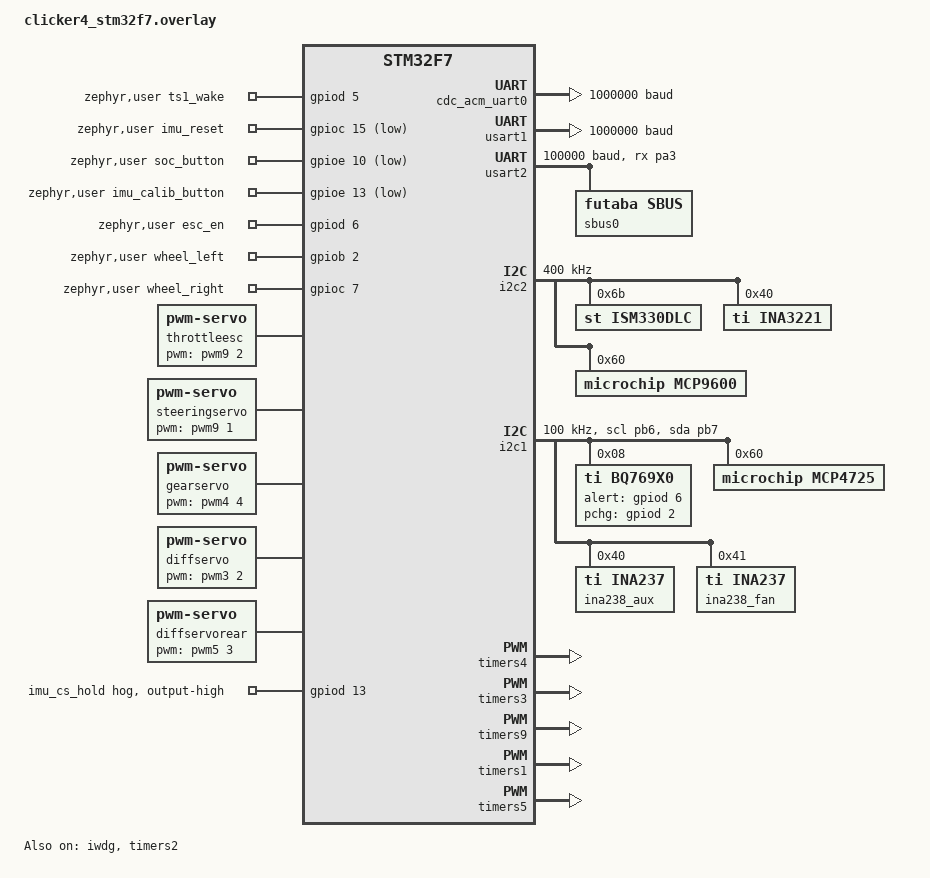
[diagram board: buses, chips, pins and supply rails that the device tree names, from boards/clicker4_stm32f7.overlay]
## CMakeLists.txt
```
# SPDX-License-Identifier: Apache-2.0


message(WARNING 
"========================================================================
MICRO-ROS BUILD NOTICE:
If you have changed the target board/port and are doing a pristine build,
you may need to manually remove micro-ROS build artifacts:
  rm -rf modules/lib/micro_ros_zephyr_module/modules/libmicroros/libmicroros.a
  rm -rf modules/lib/micro_ros_zephyr_module/modules/libmicroros/micro_ros_src/build
This ensures micro-ROS rebuilds for the correct target architecture.
========================================================================")


cmake_minimum_required(VERSION 3.13.1)

list(APPEND ZEPHYR_EXTRA_MODULES ${CMAKE_CURRENT_SOURCE_DIR}/../../modules/lib/micro_ros_zephyr_module/modules/libmicroros)
list(APPEND ZEPHYR_EXTRA_MODULES
    ${CMAKE_CURRENT_SOURCE_DIR}/../../drivers
    ${CMAKE_CURRENT_SOURCE_DIR}/../../external/modules/debug/segger
)

find_package(Zephyr REQUIRED HINTS $ENV{ZEPHYR_BASE})
project(svea_lli_control C CXX)

# Include directories
target_include_directories(app PRIVATE include)
target_include_directories(app PRIVATE
    ${CMAKE_CURRENT_SOURCE_DIR}/../../modules/lib/svea-bms/app/src
    ${CMAKE_CURRENT_SOURCE_DIR}/../../modules/lib/svea-bms/app/src/bq769x0
)

# Source files
target_sources(app PRIVATE
    src/main.c
    src/control.c
    src/rc_input.c
    src/ros_iface.c
    src/imu_sensor.c
    src/ina3221_sensor.c
    src/ina238_sensor.c
    src/mcp9600_sensor.c
    src/mcp4725_monitor.c
    src/wheel_enc.c
    src/ina2xx_common.c
    
    # BMS integration
    src/bms.cpp
    ${CMAKE_CURRENT_SOURCE_DIR}/../../modules/lib/svea-bms/app/src/bms_common.c
    ${CMAKE_CURRENT_SOURCE_DIR}/../../modules/lib/svea-bms/app/src/bms_soc.c
    ${CMAKE_CURRENT_SOURCE_DIR}/../../modules/lib/svea-bms/app/src/wake_chip.c
    ${CMAKE_CURRENT_SOURCE_DIR}/../../modules/lib/svea-bms/app/src/helper.cpp
    ${CMAKE_CURRENT_SOURCE_DIR}/../../modules/lib/svea-bms/app/src/bq769x0/bms_bq769x0.c
    ${CMAKE_CURRENT_SOURCE_DIR}/../../modules/lib/svea-bms/app/src/bq769x0/interface.c
)
```

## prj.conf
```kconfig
CONFIG_GPIO=y
CONFIG_CPP=y

# Micro-ROS configuration
CONFIG_MICROROS=y
CONFIG_MICROROS_TRANSPORT_SERIAL_USB=y
CONFIG_MICROROS_PUBLISHERS="20"
CONFIG_MICROROS_SUBSCRIBERS="12"
CONFIG_MICROROS_CLIENTS="8"
CONFIG_MICROROS_SERVERS="8"
CONFIG_MICROROS_XRCE_DDS_MTU="2048"
CONFIG_UART_LINE_CTRL=y


# Serial/USB for Micro-ROS
CONFIG_USB_DEVICE_STACK=y
CONFIG_USB_CDC_ACM=y
CONFIG_USB_CDC_ACM_RINGBUF_SIZE=16384
CONFIG_USB_REQUEST_BUFFER_SIZE=16384
CONFIG_SERIAL=y
CONFIG_CONSOLE=y
CONFIG_UART_CONSOLE=y
CONFIG_LOG_BACKEND_UART=y
CONFIG_UART_INTERRUPT_DRIVEN=y
CONFIG_UART_USE_RUNTIME_CONFIGURE=y
CONFIG_INPUT=y
CONFIG_INPUT_SBUS=y
# disable SBUS sync events; rely on raw event cadence instead
CONFIG_INPUT_SBUS_SEND_SYNC=n
# Helpful debug while bringing up SBUS
# Set Input subsystem logging to DEBUG level
# CONFIG_INPUT_EVENT_DUMP=y

# Scheduler and threads
CONFIG_NUM_PREEMPT_PRIORITIES=16
CONFIG_SYSTEM_WORKQUEUE_PRIORITY=2
CONFIG_MAIN_STACK_SIZE=8192
CONFIG_MAIN_THREAD_PRIORITY=0
CONFIG_WDT_DISABLE_AT_BOOT=y

# C library and POSIX
CONFIG_NEWLIB_LIBC=y
CONFIG_NEWLIB_LIBC_NANO=n
CONFIG_PTHREAD_IPC=n
CONFIG_POSIX_API=y
CONFIG_POSIX_CLOCK=y

# System
CONFIG_SYS_CLOCK_TICKS_PER_SEC=1000
CONFIG_BUILD_OUTPUT_HEX=y

# Sensors
CONFIG_SENSOR=y
CONFIG_I2C=y
CONFIG_SPI=y
CONFIG_ISM330DLC=y
CONFIG_SENSOR=y
CONFIG_MCP9600=y
CONFIG_DAC=y
CONFIG_DAC_INIT_PRIORITY=80

# Encoders configuration (add specific encoder configs below as needed)
CONFIG_COUNTER=y
CONFIG_COUNTER_TIMER_STM32=y

# PWM control and capture - Zephyr 4.1 compliant
CONFIG_PWM=y
CONFIG_PWM_CAPTURE=y
CONFIG_PWM_STM32=y
CONFIG_PINCTRL=y

# Safety
CONFIG_WATCHDOG=y

# Debug and logging (disable consoles to avoid USART3 conflicts)
CONFIG_STDOUT_CONSOLE=y
CONFIG_PRINTK=y
CONFIG_UART_CONSOLE=y
CONFIG_FAULT_DUMP=2
CONFIG_THREAD_NAME=y
CONFIG_THREAD_MONITOR=y
CONFIG_LOG=n
CONFIG_LOG_DEFAULT_LEVEL=0
# Enable float formatting in logs/printf
CONFIG_CBPRINTF_FP_SUPPORT=y
CONFIG_NEWLIB_LIBC_FLOAT_PRINTF=y
#- Level 0: Off
#- Level 1: Error
#- Level 2: Warning
#- Level 3: Info
#- Level 4: Debug

# Additional debugging
CONFIG_ASSERT=y
CONFIG_ASSERT_VERBOSE=y
CONFIG_COMPILER_WARNINGS_AS_ERRORS=n

CONFIG_STACK_SENTINEL=y
CONFIG_THREAD_ANALYZER=y
CONFIG_ASSERT=y

# CRC support needed by BMS interface (crc8_ccitt)
CONFIG_CRC=y
# Enable TDK HAL so the ICM42x7x driver can include its EMD headers
CONFIG_TDK_HAL=y

CONFIG_SENSOR=y
CONFIG_LOG=y
CONFIG_SENSOR_LOG_LEVEL_DBG=n

# Floating point format support
# Selecting this increases stack size requirements slightly, but increases code size significantly.
CONFIG_CBPRINTF_FP_SUPPORT=y

# Trigger mode: sample is using interrupt triggering
CONFIG_ICM42X70_TRIGGER_OWN_THREAD=y
CONFIG_SERIAL=y
CONFIG_CONSOLE=y
CONFIG_STDOUT_CONSOLE=y
CONFIG_UART_CONSOLE=y
CONFIG_PRINTK=y          
CONFIG_LOG_BACKEND_UART=y  
```

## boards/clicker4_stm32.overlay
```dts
&cdc_acm_uart0 {
    current-speed = <115200>;
    bq769x0: bq769x0@8 {
        compatible = "ti,bq769x0";
        reg = <0x0 0x08 0x1>;
        alert-gpios = <&gpioa 8 GPIO_ACTIVE_HIGH>;
        pchg-gpios = <&gpiod 2 GPIO_ACTIVE_HIGH>;
        status = "okay";
    };
};

&usart1 {
    current-speed = <115200>;
};

&i2c2 {
    status = "okay";
    clock-frequency = <I2C_BITRATE_FAST>;
    imu: ism330dlc@6b {
        status = "okay";
        compatible = "st,ism330dlc";
        drdy-gpios = <&mb1 15 GPIO_ACTIVE_HIGH>,
                     <&mb1  1 GPIO_ACTIVE_HIGH>;
        accel-odr = <8>;
        gyro-odr = <8>;
        accel-range = <4>;
        gyro-range = <250>;
        reg = <0x6b>;
        label = "ISM330DLC";
    };
};

&iwdg {
    status = "okay";
};

#include <zephyr/dt-bindings/pwm/pwm.h>
#include <zephyr/dt-bindings/input/input-event-codes.h>

/* Pinmux definitions - silkscreen label in comments */
&pinctrl {
    tim1_ch1_pe9: tim1_ch1_pe9    { pinmux = <STM32_PINMUX('E', 9, AF1)>;  }; // P1

    tim2_ch4_pb11: tim2_ch4_pb11   { pinmux = <STM32_PINMUX('B', 11, AF1)>; }; // P3
    tim12_ch1_ph6: tim12_ch1_ph6   { pinmux = <STM32_PINMUX('H', 6, AF9)>;  }; // P4
    tim3_ch1_pa6: tim3_ch1_pa6    { pinmux = <STM32_PINMUX('A', 6, AF2)>;  }; // MISO1
    tim3_ch2_pa7: tim3_ch2_pa7    { pinmux = <STM32_PINMUX('A', 7, AF2)>;  };
    tim4_ch3_pb8: tim4_ch3_pb8    { pinmux = <STM32_PINMUX('B', 8, AF2)>;  }; // SCL1
    tim5_ch1_ph10: tim5_ch1_ph10   { pinmux = <STM32_PINMUX('H', 10, AF2)>; }; // P5
    tim15_ch1_pe4: tim15_ch1_pe4   { pinmux = <STM32_PINMUX('E', 4,  AF2)>; };
    tim9_ch1_pa2: tim9_ch1_pa2    { pinmux = <STM32_PINMUX('A', 2, AF3)>;  }; // TX1 (silkscreen), TX2 (datasheet)
    tim11_ch4_pb9: tim11_ch4_pb9   { pinmux = <STM32_PINMUX('B', 9, AF2)>;  bias-disable;}; // NEW ESC
    tim2_ch1_pa5: tim2_ch1_pa5 { pinmux = <STM32_PINMUX('A', 5, AF1)>; }; // P11 (PA5, TIM2_CH1, SCK1)

    tim2_ch2_pa1: tim2_ch2_pa1 { pinmux = <STM32_PINMUX('A', 1, AF1)>; }; // SCK1 (silkscreen), SCL1 (datasheet)

    //tim14_ch1_pf14: tim14_ch1_pf14 { pinmux = <STM32_PINMUX('F', 14, AF9)>; }; // new ESC out

};

/* PWM Output timers - silkscreen label in comments */
&timers2 {
    status = "okay";
    st,prescaler = <107>;
    pwm2: pwm {
        compatible = "st,stm32-pwm";
        status = "okay";
        #pwm-cells = <3>;
        pinctrl-0 = <&tim2_ch3_pb10 &tim2_ch4_pb11 &tim2_ch1_pa5 &tim2_ch2_pa1>; // P2, P3, P11, PA1
        pinctrl-names = "default";
    };
};

&timers4 {
    status = "okay";
    st,prescaler = <215>;
    pwm4: pwm {
        compatible = "st,stm32-pwm";
        status = "okay";
        #pwm-cells = <3>;
        pinctrl-0 = <&tim11_ch4_pb9>;
        pinctrl-names = "default";
    };
};

/* PWM Input capture timers - silkscreen label in comments */
&timers3 {
    status = "okay";
    st,prescaler = <107>;
    pwm3_in: pwm {
        compatible = "st,stm32-pwm";
        status = "okay";
        #pwm-cells = <3>;
        pinctrl-0 = <&tim3_ch1_pa6>; // MISO1
        pinctrl-names = "default";
    };
};


&timers12 {
    status = "okay";
    st,prescaler = <107>;

    pwm12_in: pwm {
        compatible = "st,stm32-pwm";
        status = "okay";
        #pwm-cells = <3>;
        pinctrl-0 = <&tim12_ch1_ph6>;   // PH6 (P4) now capture
        pinctrl-names = "default";
    };
};

&timers9 {
    status = "okay";
    st,prescaler = <215>;
    pwm9_in: pwm {
        compatible = "st,stm32-pwm";
        status = "okay";
        #pwm-cells = <3>;
        pinctrl-0 = <&tim9_ch1_pa2>; // TX1 (silkscreen), TX2 (datasheet)
        pinctrl-names = "default";
    };
};

&timers5 {
    status = "okay";
    st,prescaler = <107>;
    pwm5_in: pwm {
        compatible = "st,stm32-pwm";
        status = "okay";
        #pwm-cells = <3>;
        pinctrl-0 = <&tim5_ch1_ph10>; // P5
        pinctrl-names = "default";
    };
};


#include <zephyr/dt-bindings/timer/stm32-timer.h>


/ {
    // Servo output nodes - silkscreen label in comments
    steeringservo: servo {
        compatible = "pwm-servo";
        pwms = <&pwm2 2 10000000 PWM_POLARITY_NORMAL>; // P1
        min-pulse = <PWM_USEC(1000)>;
        max-pulse = <PWM_USEC(2100)>;
    };
    gearservo: gear_servo {
        compatible = "pwm-servo";
        pwms = <&pwm2 4 10000000 PWM_POLARITY_NORMAL>; // P3
        min-pulse = <PWM_USEC(1000)>;
        max-pulse = <PWM_USEC(2100)>;
    };
    throttleesc: throttle_esc {
        compatible = "pwm-servo";
        pwms = <&pwm4 4 10000000 PWM_POLARITY_NORMAL>; // P4
        min-pulse = <PWM_USEC(1000)>;
        max-pulse = <PWM_USEC(2100)>;
    };
    diffservo: diff_servo {
        compatible = "pwm-servo";
        pwms = <&pwm2 3 10000000 PWM_POLARITY_NORMAL>; // P2
        min-pulse = <PWM_USEC(1000)>;
        max-pulse = <PWM_USEC(2100)>;
    };
    diffservorear: diff_servo_rear {
        compatible = "pwm-servo";
        pwms = <&pwm2 1 10000000 PWM_POLARITY_NORMAL>; // P11 (PA5, TIM2_CH1, SCK1)
        min-pulse = <PWM_USEC(1000)>;
        max-pulse = <PWM_USEC(2100)>;
    };
};


/ {
    /* Board-specific DT data used by BMS and wake_chip */
    pcb {
        compatible = "bms";
        num-cells-max = <5>;
        num-thermistors-max = <0>;
        current-max = <20>;
        shunt-res = <4000>;
        type = "CustomPack";
        version-str = "svea-v0.1";
        version-num = <1>;
    };

    zephyr,user {
        ts1_wake_gpios = <&gpiob 1 GPIO_ACTIVE_HIGH>;
        /* MikroBUS RST pin selects the CS analog mux (keep host -> IMU path) */
        imu_reset_gpios = <&gpioc 15 GPIO_ACTIVE_LOW>;
    };

    wheel_encoders: wheel_encoders {
        compatible = "gpio-keys";
        status = "disabled";
        debounce-interval-ms = <1>;
        wheel_left: wheel_left {
            gpios = <&gpioc 0 GPIO_ACTIVE_HIGH>;
            zephyr,code = <INPUT_KEY_0>;
            label = "WHEEL_LEFT";
        };
        wheel_right: wheel_right {
            gpios = <&gpioi 10 GPIO_ACTIVE_HIGH>;
            zephyr,code = <INPUT_KEY_1>;
            label = "WHEEL_RIGHT";
        };
    };
};


/ {
    chosen {
        zephyr,console = &usart3;
        zephyr,shell-uart = &usart3;
    };

    aliases {
        /* PWM capture inputs (RC receiver) - silkscreen label in comments */
        rc-steer    = &pwm3_in;   // MISO1
        rc-high-gear     = &pwm9_in;   // TX1 (silkscreen), TX2 (datasheet)
        rc-throttle = &pwm5_in;   // P5
        rc-override = &pwm12_in;   // SCL1

        /* PWM outputs (servos/ESC) - silkscreen label in comments */
        // steeringservo = &servo;           // P1
        // gearservo = &gear_servo;          // P3
        // throttleesc = &throttle_esc;      // P4
        // diffservo = &diff_servo;          // P2
        // diffservorear = &diff_servo_rear; // PA5, TIM2_CH1, SCK1

        wheel-left-gpio  = &wheel_left;
        wheel-right-gpio = &wheel_right;
        //wheel-right = &timers13;

        imu = &imu;
        watchdog0 = &iwdg;
    };
};
```

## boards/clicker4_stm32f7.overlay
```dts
/ {
    chosen {
        zephyr,console = &usart1;
        zephyr,shell-uart = &usart1;
    };

    aliases {
        imu = &ism330dlc;
        ina3221 = &ina3221;
        watchdog0 = &iwdg;
    };
};

&cdc_acm_uart0 { // For mikroros
    current-speed = <1000000>;
};

&usart1 {
    status = "okay";
    current-speed = <1000000>;
};

&usart3 {
    status = "disabled";
};

/* For input event codes used by futaba,sbus */
#include <zephyr/dt-bindings/input/input-event-codes.h>

&usart2 {
    status = "okay";
    pinctrl-0 = <&usart2_rx_pa3>;
    current-speed = <100000>;
    parity = "even";
    stop-bits = "2";
    rx-invert;

    sbus0: sbus {
        compatible = "futaba,sbus";
        status = "okay";
        ch1_steer: ch1 {
            channel = <1>;
            type = <INPUT_EV_ABS>;
            zephyr,code = <INPUT_ABS_X>;
        };
        ch2_throttle: ch2 {
            channel = <2>;
            type = <INPUT_EV_ABS>;
            zephyr,code = <INPUT_ABS_Y>;
        };
        ch4_diff_button: ch4 {
            channel = <4>;
            type = <INPUT_EV_ABS>;
            zephyr,code = <INPUT_ABS_Z>;
        };
        ch5_override: ch5 {
            channel = <5>;
            type = <INPUT_EV_ABS>;
            zephyr,code = <INPUT_ABS_RX>;
        };
        ch6_gear: ch6 {
            channel = <6>;
            type = <INPUT_EV_ABS>;
            zephyr,code = <INPUT_ABS_RY>;
        };
    };
};

&button4 {
    status = "disabled";
};

&i2c2 {
    status = "okay";
    clock-frequency = <I2C_BITRATE_FAST>;

    icm42670: icm42670@68 {
        compatible = "invensense,icm42670p";
        reg = <0x68>;
        gyro-hz = <800>;
        accel-hz = <800>;
        accel-fs = <8>;
        gyro-fs = <1000>;
        status = "disabled";
    };

    ism330dlc: ism330dlc@6b {
        compatible = "st,ism330dlc";
        reg = <0x6b>;
        accel-odr = <9>;
        accel-range = <8>;
        gyro-odr = <8>;
        gyro-range = <1000>;
        status = "okay";
    };

    ina3221: ina3221@40 {
        compatible = "ti,ina3221";
        reg = <0x40>;
        shunt-resistors = <4 8 8>;
        avg-mode = <1>;
        conv-time-bus = <2>;
        conv-time-shunt = <4>;
        status = "okay";
    };

    /* --- NEW: MCP9600 Thermocouple Amplifier --- */
    mcp9600: mcp9600@60 {
        compatible = "microchip,mcp9600";
        reg = <0x60>;
        status = "okay";
        /* alert-gpios = <&gpioX Y GPIO_ACTIVE_LOW>; */
    };
};

&i2c1 {
    status = "okay";
    pinctrl-0 = <&i2c1_scl_pb6 &i2c1_sda_pb7>;
    pinctrl-names = "default";
    clock-frequency = <I2C_BITRATE_STANDARD>;

    bq769x0: bq769x0@8 {
        compatible = "ti,bq769x0";
        reg = <0x08>;
        alert-gpios = <&gpiod 6 GPIO_ACTIVE_HIGH>;
        pchg-gpios = <&gpiod 2 GPIO_ACTIVE_HIGH>;
        status = "okay";
    };

    /* --- NEW: MCP4725 I2C DAC --- */
    mcp4725: mcp4725@60 {
        compatible = "microchip,mcp4725";
        reg = <0x60>;
        status = "okay";
        #io-channel-cells = <1>;
    };

    /* --- NEW: INA238 monitors (aux load + fan) --- */
    ina238_aux: ina238_aux@40 {
        compatible = "ti,ina237";
        reg = <0x40>;
        status = "okay";
        current-lsb-microamps = <214>; /* ~7 A span */
        rshunt-micro-ohms = <15000>;
    };

    ina238_fan: ina238_fan@41 {
        compatible = "ti,ina237";
        reg = <0x41>;
        status = "okay";
        current-lsb-microamps = <62>; /* ~2 A span */
        rshunt-micro-ohms = <15000>;
    };
};

&spi1 {
    status = "disabled";
};

&gpiod {
    imu_cs_hold: imu_cs_hold {
        gpio-hog;
        gpios = <13 GPIO_ACTIVE_HIGH>;
        output-high;
    };
};

&gpioc {
    /* PC15 is routed to mikroBUS1 RST */
};

&iwdg {
    status = "okay";
};

#include <zephyr/dt-bindings/pwm/pwm.h>

&timers2 {
    status = "okay";
};

&timers4 {
    status = "okay";
    st,prescaler = <215>;
    pwm4: pwm {
        compatible = "st,stm32-pwm";
        status = "okay";
        #pwm-cells = <3>;
        pinctrl-0 = <&tim4_ch4_pb9>;
        pinctrl-names = "default";
    };
};

&timers3 {
    status = "okay";
    st,prescaler = <107>;
    pwm3: pwm {
        compatible = "st,stm32-pwm";
        status = "okay";
        #pwm-cells = <3>;
        pinctrl-0 = <&tim3_ch2_pb5>;
        pinctrl-names = "default";
    };
};

&timers9 {
    status = "okay";
    st,prescaler = <215>;
    pwm9: pwm {
        compatible = "st,stm32-pwm";
        status = "okay";
        #pwm-cells = <3>;
        pinctrl-0 = <&tim9_ch1_pe5 &tim9_ch2_pe6>;
        pinctrl-names = "default";
    };
};

&timers1 {
    status = "okay";
    st,prescaler = <215>;
    pwm1: pwm {
        compatible = "st,stm32-pwm";
        status = "okay";
        #pwm-cells = <3>;
        pinctrl-0 = <&tim1_ch1_pe9 &tim1_ch4_pe14>;
        pinctrl-names = "default";
    };
};

&timers5 {
    status = "okay";
    st,prescaler = <215>;
    pwm5: pwm {
        compatible = "st,stm32-pwm";
        status = "okay";
        #pwm-cells = <3>;
        pinctrl-0 = <&tim5_ch3_pa2>;
        pinctrl-names = "default";
    };
};

#include <zephyr/dt-bindings/timer/stm32-timer.h>

 / {
    pcb {
        compatible = "bms";
        num-cells-max = <5>;
        num-thermistors-max = <0>;
        current-max = <30>;
        shunt-res = <4000>;
        type = "Powerboard 3.0";
        version-str = "svea-v0.1";
        version-num = <1>;
    };

    zephyr,user {
        ts1_wake_gpios = <&gpiod 5 GPIO_ACTIVE_HIGH>;
        imu_reset_gpios = <&gpioc 15 GPIO_ACTIVE_LOW>;
        soc_button_gpios = <&gpioe 10 GPIO_ACTIVE_LOW>;
        imu_calib_button_gpios = <&gpioe 13 (GPIO_ACTIVE_LOW | GPIO_PULL_UP)>;
        esc_en_gpios = <&gpiod 6 (GPIO_OPEN_DRAIN | GPIO_ACTIVE_HIGH)>;
        wheel_left_gpios = <&gpiob 2 GPIO_ACTIVE_HIGH>;
        wheel_right_gpios = <&gpioc 7 GPIO_ACTIVE_HIGH>;
    };

    throttleesc: throttle_esc {
        compatible = "pwm-servo";
        pwms = <&pwm9 2 10000000 PWM_POLARITY_NORMAL>;
        min-pulse = <PWM_USEC(1000)>;
        max-pulse = <PWM_USEC(2100)>;
    };

    steeringservo: servo {
        compatible = "pwm-servo";
        pwms = <&pwm9 1 10000000 PWM_POLARITY_NORMAL>;
        min-pulse = <PWM_USEC(1000)>;
        max-pulse = <PWM_USEC(2100)>;
    };

    gearservo: gear_servo {
        compatible = "pwm-servo";
        pwms = <&pwm4 4 10000000 PWM_POLARITY_NORMAL>;
        min-pulse = <PWM_USEC(1000)>;
        max-pulse = <PWM_USEC(2100)>;
    };

    diffservo: diff_servo {
        compatible = "pwm-servo";
        pwms = <&pwm3 2 10000000 PWM_POLARITY_NORMAL>;
        min-pulse = <PWM_USEC(1000)>;
        max-pulse = <PWM_USEC(2100)>;
    };

    diffservorear: diff_servo_rear {
        compatible = "pwm-servo";
        status = "okay";
        pwms = <&pwm5 3 10000000 PWM_POLARITY_NORMAL>;
        min-pulse = <PWM_USEC(1000)>;
        max-pulse = <PWM_USEC(2100)>;
    };
};
```

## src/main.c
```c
#/* * * * * * * * * * * * * * * * * * * * * * * * * * * * * * * * * * * * * * * *
# * SVEA Note.
# *
# * Part of the SVEA Low‑Level Interface (Zephyr) application.
# * Author: Nils Kiefer
# * * * * * * * * * * * * * * * * * * * * * * * * * * * * * * * * * * * * * * */

#include "control.h"
#include "imu_sensor.h"
#include "ina238_sensor.h"
#include "ina3221_sensor.h"
#include "ina2xx_common.h"
#include "mcp4725_monitor.h"
#include "mcp9600_sensor.h"
#include "rc_input.h"
#include "ros_iface.h"
#include "wheel_enc.h"
#include <stdio.h>
#include <zephyr/drivers/watchdog.h>
#include <zephyr/kernel.h>
#include <zephyr/logging/log.h>
#include <zephyr/usb/usb_device.h>
LOG_MODULE_REGISTER(main, LOG_LEVEL_INF);

#define WDT_TIMEOUT_MS 2000

static const struct device *wdt;
static int wdt_channel_id = -1;

static void app_wdt_setup(void) {
    wdt = DEVICE_DT_GET(DT_ALIAS(watchdog0));
    if (!device_is_ready(wdt)) {
        LOG_ERR("Watchdog device not ready!");
        return;
    }

    struct wdt_timeout_cfg cfg = {
        .window = {
            .min = 0,
            .max = WDT_TIMEOUT_MS,
        },
        .callback = NULL, // NULL = reset on timeout
        .flags = WDT_FLAG_RESET_SOC};

    wdt_channel_id = wdt_install_timeout(wdt, &cfg);
    if (wdt_channel_id < 0) {
        LOG_ERR("Failed to install watchdog timeout");
        return;
    }
    if (wdt_setup(wdt, 0) < 0) { // This line is correct: calls Zephyr's wdt_setup
        LOG_ERR("Failed to setup watchdog");
    } else {
        LOG_INF("Watchdog started (%d ms timeout)", WDT_TIMEOUT_MS);
    }
}

int main(void) {
    LOG_INF("SVEA LLI starting");
    k_sleep(K_SECONDS(1)); // Allow time for logging to initialize
    app_wdt_setup();
    k_sleep(K_SECONDS(1)); // Allow time for watchdog setup

    rc_input_init();
    servo_init();

    if (ina3221_sensor_init() != 0) {
        LOG_WRN("INA3221 sensor init failed");
    }
    if (ina238_sensor_init() != 0) {
        LOG_WRN("INA238 sensor init failed");
    }
    imu_sensor_start();
    mcp9600_sensor_start();
    mcp4725_monitor_start();
    wheel_enc_init();

    ros_iface_init();

    while (1) {
        if (wdt_channel_id >= 0) {
            wdt_feed(wdt, wdt_channel_id);
        }
        k_sleep(K_MSEC(500)); // Feed often enough to avoid reset
    }

    return 0;
}
```

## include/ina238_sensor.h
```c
/*
 * Part of the SVEA Low-Level Interface (Zephyr) application.
 */
#ifndef INA238_SENSOR_H_
#define INA238_SENSOR_H_

#ifdef __cplusplus
extern "C" {
#endif

int ina238_sensor_init(void);

#ifdef __cplusplus
}
#endif

#endif /* INA238_SENSOR_H_ */
```

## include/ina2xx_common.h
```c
/*
 * Copyright 2021 Grinn
 * Copyright 2025 Nova Dynamics LLC
 *
 * SPDX-License-Identifier: Apache-2.0
 */

#ifndef ZEPHYR_DRIVERS_SENSOR_INA2XX_COMMON_H_
#define ZEPHYR_DRIVERS_SENSOR_INA2XX_COMMON_H_

#include <stdint.h>

#include <zephyr/drivers/i2c.h>
#include <zephyr/drivers/sensor.h>
#include <zephyr/sys/util_macro.h>

/**
 * @brief Value of the manufacturer ID register (ASCII 'TI')
 */
#define INA2XX_MANUFACTURER_ID 0x5449

#define INA2XX_REG_DEFINE(_name, _addr, _size) \
	static const struct ina2xx_reg _name = {         \
		.addr = (_addr),                             \
		.size = (_size),                             \
	}

#define INA2XX_CHANNEL_DEFINE(_name, _addr, _size, _shift, _mult, _div) \
	INA2XX_REG_DEFINE(_name##_reg, _addr, _size);                       \
	static const struct ina2xx_channel _name = {                        \
		.reg = (&_name##_reg),                                          \
		.mult = (_mult),                                                \
		.div = (_div),                                                  \
		.shift = (_shift),                                              \
	}

/**
 * @brief INA2XX register mapping.
 *
 * Different INA2XX variants have different register sizes and addresses for
 * the same data. This structure allows the driver to specify the register
 * mapping without writing variant specific read functions.
 *
 * @param addr Register address
 * @param size Register size in bits (16, 24 or 40)
 */
struct ina2xx_reg {
	uint8_t addr;
	uint8_t size;
};

/**
 * @brief INA2XX channel mapping.
 *
 * Most INA2XX chips use the same formula for encoding data but have different
 * scaling factors depending on, e.g., ADC resolution.
 *
 * @param reg Register mapping
 * @param mult Channel multiplier
 * @param div Channel divisor
 * @param shift Register shift
 */
struct ina2xx_channel {
	const struct ina2xx_reg *reg;
	uint32_t mult;
	uint32_t div;
	uint8_t shift;
};

/**
 * @brief INA2XX data channels.
 *
 * A helper structure for organizing the channel mappings. Not all channels
 * are available on all INA2XX variants.
 */
struct ina2xx_channels {
	const struct ina2xx_channel *voltage;
	const struct ina2xx_channel *vshunt;
	const struct ina2xx_channel *current;
	const struct ina2xx_channel *power;
	const struct ina2xx_channel *die_temp;
	const struct ina2xx_channel *energy;
	const struct ina2xx_channel *charge;
};

/**
 * @brief INA2XX configuration structure.
 */
struct ina2xx_config {
	struct i2c_dt_spec bus;
	uint32_t current_lsb;
	uint16_t config;
	uint16_t adc_config;
	uint16_t cal;
	const struct ina2xx_reg *id_reg;
	const struct ina2xx_reg *config_reg;
	const struct ina2xx_reg *adc_config_reg;
	const struct ina2xx_reg *cal_reg;
	const struct ina2xx_channels *channels;
};

/**
 * @brief INA2XX data buffers.
 *
 * These buffers hold the raw data read from the INA2XX registers. They have
 * been sized for the INA228, and should be increased as needed.
 */
struct ina2xx_data {
	uint8_t voltage[3];
	uint8_t vshunt[3];
	uint8_t current[3];
	uint8_t power[3];
	uint8_t die_temp[2];
	uint8_t energy[5];
	uint8_t charge[5];
};

int ina2xx_reg_read_24(const struct i2c_dt_spec *bus, uint8_t reg, uint32_t *val);
int ina2xx_reg_read_16(const struct i2c_dt_spec *bus, uint8_t reg, uint16_t *val);
int ina2xx_reg_write(const struct i2c_dt_spec *bus, uint8_t reg, uint16_t val);

int ina2xx_reg_read(const struct i2c_dt_spec *bus, const struct ina2xx_reg *reg,
				void *buf, size_t len);

int ina2xx_sample_fetch(const struct device *dev, enum sensor_channel chan);

int ina2xx_channel_get(const struct device *dev, enum sensor_channel chan,
				struct sensor_value *val);

int ina2xx_attr_set(const struct device *dev, enum sensor_channel chan,
				enum sensor_attribute attr, const struct sensor_value *val);

int ina2xx_attr_get(const struct device *dev, enum sensor_channel chan,
				enum sensor_attribute attr, struct sensor_value *val);

int ina2xx_init(const struct device *dev);

#endif /* ZEPHYR_DRIVERS_SENSOR_INA2XX_COMMON_H_ */
```

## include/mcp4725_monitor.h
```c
/*
 * Part of the SVEA Low-Level Interface (Zephyr) application.
 */
#ifndef MCP4725_MONITOR_H_
#define MCP4725_MONITOR_H_

#ifdef __cplusplus
extern "C" {
#endif

void mcp4725_monitor_start(void);
int mcp4725_set_target(float normalized);

#ifdef __cplusplus
}
#endif

#endif /* MCP4725_MONITOR_H_ */
```

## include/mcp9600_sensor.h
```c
/*
 * Part of the SVEA Low-Level Interface (Zephyr) application.
 */
#ifndef MCP9600_SENSOR_H_
#define MCP9600_SENSOR_H_

#ifdef __cplusplus
extern "C" {
#endif

void mcp9600_sensor_start(void);

#ifdef __cplusplus
}
#endif

#endif /* MCP9600_SENSOR_H_ */
```

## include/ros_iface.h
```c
/* * * * * * * * * * * * * * * * * * * * * * * * * * * * * * * * * * * * * * * *
 * SVEA Note.
 *
 * Part of the SVEA Low‑Level Interface (Zephyr) application.
 * Author: Nils Kiefer
 * * * * * * * * * * * * * * * * * * * * * * * * * * * * * * * * * * * * * * */
#ifndef ROS_IFACE_H
#define ROS_IFACE_H

#include "rc_input.h"
#include <rcl/rcl.h>
#include <sensor_msgs/msg/imu.h>
#include <std_msgs/msg/bool.h>
#include <std_msgs/msg/float32_multi_array.h>
#include <std_msgs/msg/u_int8.h>
#include <zephyr/kernel.h>

#ifdef __cplusplus
extern "C" {
#endif

typedef struct {
    uint32_t steering_us;
    uint32_t throttle_us;
    bool high_gear;
    bool diff_locked;
    int64_t timestamp;
} ros_command_t;

void ros_iface_init(void);
void ros_get_command(ros_command_t *cmd);
extern bool ros_initialized;

// Sensors
extern rcl_publisher_t pub_remote_steer;
extern rcl_publisher_t pub_remote_throttle;
extern rcl_publisher_t pub_remote_gear;
extern rcl_publisher_t pub_remote_override;
extern rcl_publisher_t pub_remote_connected;
extern rcl_publisher_t imu_pub;
extern rcl_publisher_t encoders_pub;
extern rcl_publisher_t ina3221_pub;
extern rcl_publisher_t mcp9600_pub;
extern rcl_publisher_t mcp4725_pub;
extern rcl_publisher_t ina238_aux_pub;
extern rcl_publisher_t ina238_fan_pub;
extern rcl_publisher_t battery_pub;

// Non-blocking best-effort publish; returns RCL_RET_OK on success, RCL_RET_ERROR if skipped
rcl_ret_t ros_publish_try(rcl_publisher_t *pub, const void *msg);
// Thread-safe publish (blocking) on reliable stream
rcl_ret_t ros_publish_locked(rcl_publisher_t *pub, const void *msg);

void ros_iface_handle_remote_publish_error(void);

uint64_t ros_iface_epoch_millis(void);
uint64_t ros_iface_epoch_nanos(void);

#ifdef __cplusplus
}
#endif

#endif // ROS_IFACE_H
```

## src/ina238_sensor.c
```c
/*
 * Part of the SVEA Low-Level Interface (Zephyr) application.
 */

#include "ina238_sensor.h"

#include "ros_iface.h"

#include <math.h>
#include <rosidl_runtime_c/primitives_sequence_functions.h>
#include <std_msgs/msg/float32_multi_array.h>
#include <string.h>
#include <zephyr/device.h>
#include <zephyr/devicetree.h>
#include <zephyr/drivers/sensor.h>
#include <zephyr/kernel.h>
#include <zephyr/logging/log.h>

LOG_MODULE_REGISTER(ina238_sensor, LOG_LEVEL_INF);

#define INA238_THREAD_STACK_SIZE 2048
#define INA238_THREAD_PRIORITY   6
#define INA238_PUBLISH_PERIOD_MS 40  // Target ~25 Hz while keeping bus utilization reasonable

struct ina238_sensor_ctx {
    const struct device *dev;
    rcl_publisher_t *pub;
    const char *thread_name;
    std_msgs__msg__Float32MultiArray msg;
    bool msg_ready;
};

static int ina238_prepare_msg(struct ina238_sensor_ctx *ctx)
{
    if (ctx->msg_ready) {
        return 0;
    }

    if (!std_msgs__msg__Float32MultiArray__init(&ctx->msg)) {
        LOG_ERR("Failed to init INA238 message (%s)", ctx->thread_name);
        return -ENOMEM;
    }
    if (!rosidl_runtime_c__float32__Sequence__init(&ctx->msg.data, 5)) {
        LOG_ERR("Failed to init INA238 sequence (%s)", ctx->thread_name);
        std_msgs__msg__Float32MultiArray__fini(&ctx->msg);
        return -ENOMEM;
    }
    memset(ctx->msg.data.data, 0, sizeof(float) * ctx->msg.data.size);
    ctx->msg_ready = true;
    return 0;
}

static void ina238_publish_thread(void *p1, void *p2, void *p3)
{
    ARG_UNUSED(p2);
    ARG_UNUSED(p3);

    struct ina238_sensor_ctx *ctx = p1;
    if (ctx == NULL) {
        return;
    }

    if (ina238_prepare_msg(ctx) != 0) {
        LOG_ERR("INA238 %s publisher disabled", ctx->thread_name);
        return;
    }

    if (!device_is_ready(ctx->dev)) {
        LOG_WRN("INA238 %s device not ready", ctx->thread_name);
    }

    while (true) {
        float voltage = NAN;
        float current = NAN;
        float power = NAN;

        if (ctx->dev && device_is_ready(ctx->dev)) {
            if (sensor_sample_fetch(ctx->dev) == 0) {
                struct sensor_value val;
                if (sensor_channel_get(ctx->dev, SENSOR_CHAN_VOLTAGE, &val) == 0) {
                    voltage = (float)sensor_value_to_double(&val);
                }
                if (sensor_channel_get(ctx->dev, SENSOR_CHAN_CURRENT, &val) == 0) {
                    current = (float)sensor_value_to_double(&val);
                }
                if (sensor_channel_get(ctx->dev, SENSOR_CHAN_POWER, &val) == 0) {
                    power = (float)sensor_value_to_double(&val);
                }
            } else {
                LOG_DBG("INA238 %s sample fetch failed", ctx->thread_name);
            }
        }

        uint64_t now_ms = ros_iface_epoch_millis();
        uint32_t now_ns = (uint32_t)(ros_iface_epoch_nanos() % 1000000000ULL);

        ctx->msg.data.data[0] = (float)(now_ms / 1000ULL);
        ctx->msg.data.data[1] = (float)now_ns;
        ctx->msg.data.data[2] = voltage;
        ctx->msg.data.data[3] = current;
        ctx->msg.data.data[4] = power;

        if (ros_initialized) {
            (void)ros_publish_try(ctx->pub, &ctx->msg);
        }

        k_sleep(K_MSEC(INA238_PUBLISH_PERIOD_MS));
    }
}

#if DT_NODE_HAS_STATUS(DT_NODELABEL(ina238_aux), okay)
#define INA238_AUX_ENABLED 1
static struct ina238_sensor_ctx ina238_aux_ctx = {
    .dev = DEVICE_DT_GET(DT_NODELABEL(ina238_aux)),
    .pub = &ina238_aux_pub,
    .thread_name = "ina238_aux",
};
static K_THREAD_STACK_DEFINE(ina238_aux_stack, INA238_THREAD_STACK_SIZE);
static struct k_thread ina238_aux_thread;
#else
#define INA238_AUX_ENABLED 0
#endif

#if DT_NODE_HAS_STATUS(DT_NODELABEL(ina238_fan), okay)
#define INA238_FAN_ENABLED 1
static struct ina238_sensor_ctx ina238_fan_ctx = {
    .dev = DEVICE_DT_GET(DT_NODELABEL(ina238_fan)),
    .pub = &ina238_fan_pub,
    .thread_name = "ina238_fan",
};
static K_THREAD_STACK_DEFINE(ina238_fan_stack, INA238_THREAD_STACK_SIZE);
static struct k_thread ina238_fan_thread;
#else
#define INA238_FAN_ENABLED 0
#endif

int ina238_sensor_init(void)
{
    int started = 0;

#if INA238_AUX_ENABLED
    k_thread_create(&ina238_aux_thread, ina238_aux_stack, INA238_THREAD_STACK_SIZE,
                    ina238_publish_thread, &ina238_aux_ctx, NULL, NULL,
                    INA238_THREAD_PRIORITY, 0, K_NO_WAIT);
    k_thread_name_set(&ina238_aux_thread, ina238_aux_ctx.thread_name);
    started++;
#endif

#if INA238_FAN_ENABLED
    k_thread_create(&ina238_fan_thread, ina238_fan_stack, INA238_THREAD_STACK_SIZE,
                    ina238_publish_thread, &ina238_fan_ctx, NULL, NULL,
                    INA238_THREAD_PRIORITY, 0, K_NO_WAIT);
    k_thread_name_set(&ina238_fan_thread, ina238_fan_ctx.thread_name);
    started++;
#endif

    if (started == 0) {
        LOG_INF("No INA238 nodes enabled");
    }

    return 0;
}
```

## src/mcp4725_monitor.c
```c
/*
 * Part of the SVEA Low-Level Interface (Zephyr) application.
 */

#include "mcp4725_monitor.h"

#include "ros_iface.h"

#include <errno.h>
#include <math.h>
#include <rosidl_runtime_c/primitives_sequence_functions.h>
#include <std_msgs/msg/float32_multi_array.h>
#include <string.h>
#include <zephyr/device.h>
#include <zephyr/devicetree.h>
#include <zephyr/drivers/i2c.h>
#include <zephyr/kernel.h>
#include <zephyr/logging/log.h>
#include <zephyr/sys/util.h>

LOG_MODULE_REGISTER(mcp4725_monitor, LOG_LEVEL_INF);

#define MCP4725_THREAD_STACK_SIZE 1024
#define MCP4725_THREAD_PRIORITY   7
#define MCP4725_PUBLISH_PERIOD_MS 40  // ~25 Hz updates without hammering I2C

#if DT_NODE_HAS_STATUS(DT_NODELABEL(mcp4725), okay)
#define MCP4725_HAS_NODE 1
#define MCP4725_NODE DT_NODELABEL(mcp4725)
static const struct i2c_dt_spec mcp4725_bus = I2C_DT_SPEC_GET(MCP4725_NODE);
#else
#define MCP4725_HAS_NODE 0
#endif

static K_THREAD_STACK_DEFINE(mcp4725_stack, MCP4725_THREAD_STACK_SIZE);
static struct k_thread mcp4725_thread_data;
static std_msgs__msg__Float32MultiArray mcp4725_msg;
static bool mcp4725_msg_ready;

#define MCP4725_MAX_RAW_VALUE 4095U

struct mcp4725_command_state {
    struct k_mutex lock;
    bool pending;
    uint16_t raw_value;
};

static struct mcp4725_command_state mcp4725_cmd_state;

static uint16_t mcp4725_normalized_to_raw(float normalized)
{
    if (!isfinite(normalized)) {
        return 0U;
    }

    if (normalized <= 0.0f) {
        return 0U;
    }

    if (normalized >= 1.0f) {
        return MCP4725_MAX_RAW_VALUE;
    }

    return (uint16_t)lrintf(normalized * (float)MCP4725_MAX_RAW_VALUE);
}

static int mcp4725_write_raw(uint16_t raw)
{
#if MCP4725_HAS_NODE
    uint8_t tx[2];

    tx[0] = (raw >> 8) & 0x0F;
    tx[1] = raw & 0xFF;

    return i2c_write_dt(&mcp4725_bus, tx, sizeof(tx));
#else
    ARG_UNUSED(raw);
    return -ENODEV;
#endif
}

static bool mcp4725_consume_pending_command(uint16_t *raw_out)
{
    bool has_command = false;

    k_mutex_lock(&mcp4725_cmd_state.lock, K_FOREVER);
    if (mcp4725_cmd_state.pending) {
        has_command = true;
        mcp4725_cmd_state.pending = false;
        *raw_out = mcp4725_cmd_state.raw_value;
    }
    k_mutex_unlock(&mcp4725_cmd_state.lock);

    return has_command;
}

int mcp4725_set_target(float normalized)
{
    if (!isfinite(normalized)) {
        return -EINVAL;
    }

    uint16_t raw = mcp4725_normalized_to_raw(normalized);

    k_mutex_lock(&mcp4725_cmd_state.lock, K_FOREVER);
    mcp4725_cmd_state.raw_value = raw;
    mcp4725_cmd_state.pending = true;
    k_mutex_unlock(&mcp4725_cmd_state.lock);

    return 0;
}

static int mcp4725_msg_init(void)
{
    if (mcp4725_msg_ready) {
        return 0;
    }

    if (!std_msgs__msg__Float32MultiArray__init(&mcp4725_msg)) {
        LOG_ERR("Failed to init MCP4725 message");
        return -ENOMEM;
    }

    if (!rosidl_runtime_c__float32__Sequence__init(&mcp4725_msg.data, 2)) {
        LOG_ERR("Failed to init MCP4725 data sequence");
        std_msgs__msg__Float32MultiArray__fini(&mcp4725_msg);
        return -ENOMEM;
    }

    memset(mcp4725_msg.data.data, 0, sizeof(float) * mcp4725_msg.data.size);
    mcp4725_msg_ready = true;
    return 0;
}

static int mcp4725_snapshot(uint16_t *raw_value, bool *ready)
{
#if MCP4725_HAS_NODE
    uint8_t buf[5];
    int ret = i2c_read_dt(&mcp4725_bus, buf, sizeof(buf));
    if (ret < 0) {
        return ret;
    }

    *ready = (buf[0] & BIT(7)) != 0;
    *raw_value = ((uint16_t)buf[1] << 4) | (buf[2] >> 4);
    *raw_value &= 0x0FFF;
    return 0;
#else
    ARG_UNUSED(raw_value);
    ARG_UNUSED(ready);
    return -ENODEV;
#endif
}

static void mcp4725_thread(void *a, void *b, void *c)
{
    ARG_UNUSED(a);
    ARG_UNUSED(b);
    ARG_UNUSED(c);

    if (mcp4725_msg_init() != 0) {
        LOG_ERR("MCP4725 publisher disabled (message init failed)");
        return;
    }

#if MCP4725_HAS_NODE
    if (!device_is_ready(mcp4725_bus.bus)) {
        LOG_WRN("MCP4725 I2C bus %s not ready; publishing zeros", mcp4725_bus.bus->name);
    }
#else
    LOG_WRN("No MCP4725 node defined; publishing zeros");
#endif

    while (true) {
        uint16_t raw = 0;
        bool ready = false;
#if MCP4725_HAS_NODE
        if (device_is_ready(mcp4725_bus.bus)) {
            uint16_t command_raw = 0;
            if (mcp4725_consume_pending_command(&command_raw)) {
                int write_rc = mcp4725_write_raw(command_raw);
                if (write_rc < 0) {
                    LOG_WRN("Failed to command MCP4725 value (%d)", write_rc);
                }
            }
            if (mcp4725_snapshot(&raw, &ready) < 0) {
                LOG_DBG("Failed to read MCP4725 snapshot");
            }
        }
#endif
        float normalized = ready ? ((float)raw / 4095.0f) : NAN;
        mcp4725_msg.data.data[0] = (float)raw;
        mcp4725_msg.data.data[1] = normalized;

        if (ros_initialized) {
            (void)ros_publish_try(&mcp4725_pub, &mcp4725_msg);
        }

        k_sleep(K_MSEC(MCP4725_PUBLISH_PERIOD_MS));
    }
}

void mcp4725_monitor_start(void)
{
    k_mutex_init(&mcp4725_cmd_state.lock);
    k_thread_create(&mcp4725_thread_data, mcp4725_stack, MCP4725_THREAD_STACK_SIZE,
                    mcp4725_thread, NULL, NULL, NULL,
                    MCP4725_THREAD_PRIORITY, 0, K_NO_WAIT);
    k_thread_name_set(&mcp4725_thread_data, "mcp4725_pub");
}
```

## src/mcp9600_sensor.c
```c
/*
 * Part of the SVEA Low-Level Interface (Zephyr) application.
 */

#include "mcp9600_sensor.h"

#include "mcp9600.h"
#include "ros_iface.h"

#include <limits.h>
#include <math.h>
#include <rosidl_runtime_c/string_functions.h>
#include <sensor_msgs/msg/temperature.h>
#include <zephyr/device.h>
#include <zephyr/devicetree.h>
#include <zephyr/drivers/i2c.h>
#include <zephyr/sys/util.h>
#include <zephyr/kernel.h>
#include <zephyr/logging/log.h>

LOG_MODULE_REGISTER(mcp9600_sensor, LOG_LEVEL_INF);

#define MCP9600_THREAD_STACK_SIZE 1536
#define MCP9600_THREAD_PRIORITY   6
#define MCP9600_PUBLISH_PERIOD_MS 200

#define MCP9600_REG_TEMP_HOT 0x00
#define MCP9600_REG_ID_REVISION 0x20

#if DT_NODE_HAS_STATUS(DT_NODELABEL(mcp9600), okay)
#define MCP9600_HAS_NODE 1
#define MCP9600_NODE DT_NODELABEL(mcp9600)
static const struct i2c_dt_spec mcp9600_bus = I2C_DT_SPEC_GET(MCP9600_NODE);
static uint16_t mcp9600_i2c_addr = DT_REG_ADDR(MCP9600_NODE);
static uint8_t mcp9600_failures;
static int64_t mcp9600_last_scan_ms;

static int mcp9600_i2c_read_addr(uint16_t addr, uint8_t reg, uint8_t *buf, size_t len);
static bool mcp9600_scan_alternate_addresses(void);

static void mcp9600_track_i2c_result(int err)
{
    if (err == 0) {
        mcp9600_failures = 0;
        return;
    }

    if (mcp9600_failures < UINT8_MAX) {
        ++mcp9600_failures;
    }

    if (mcp9600_failures >= 5) {
        (void)mcp9600_scan_alternate_addresses();
        mcp9600_failures = 0;
    }
}

static int mcp9600_i2c_read_addr(uint16_t addr, uint8_t reg, uint8_t *buf, size_t len)
{
    if (!device_is_ready(mcp9600_bus.bus)) {
        return -ENODEV;
    }

    return i2c_write_read(mcp9600_bus.bus, addr, &reg, sizeof(reg), buf, len);
}

static bool mcp9600_scan_alternate_addresses(void)
{
    static const uint8_t candidates[] = {0x60, 0x61, 0x62, 0x63, 0x64, 0x65, 0x66, 0x67};
    int64_t now = k_uptime_get();

    if ((now - mcp9600_last_scan_ms) < 5000) {
        return false;
    }
    mcp9600_last_scan_ms = now;

    for (size_t i = 0; i < ARRAY_SIZE(candidates); ++i) {
        uint8_t id[2];
        uint8_t addr = candidates[i];
        int rc = mcp9600_i2c_read_addr(addr, MCP9600_REG_ID_REVISION, id, sizeof(id));
        if (rc == 0) {
            if (mcp9600_i2c_addr != addr) {
                LOG_INF("MCP9600 responding at 0x%02x (device id 0x%02x rev 0x%02x)", addr, id[0], id[1]);
                mcp9600_i2c_addr = addr;
            }
            return true;
        }
    }

    LOG_WRN("MCP9600 scan failed to locate a responding device");
    return false;
}
#else
#define MCP9600_HAS_NODE 0
#endif

static K_THREAD_STACK_DEFINE(mcp9600_stack, MCP9600_THREAD_STACK_SIZE);
static struct k_thread mcp9600_thread_data;
static sensor_msgs__msg__Temperature mcp9600_msg;
static bool mcp9600_msg_ready;

static int mcp9600_msg_init(void)
{
    if (mcp9600_msg_ready) {
        return 0;
    }

    if (!sensor_msgs__msg__Temperature__init(&mcp9600_msg)) {
        LOG_ERR("Failed to init MCP9600 message");
        return -ENOMEM;
    }

    if (!rosidl_runtime_c__String__assign(&mcp9600_msg.header.frame_id, "mcp9600_hot")) {
        sensor_msgs__msg__Temperature__fini(&mcp9600_msg);
        LOG_ERR("Failed to set MCP9600 frame id");
        return -ENOMEM;
    }

    mcp9600_msg.temperature = NAN;
    mcp9600_msg.variance = NAN;
    mcp9600_msg_ready = true;
    return 0;
}

static void mcp9600_log_device_id(void)
{
#if MCP9600_HAS_NODE
    uint8_t buf[2];
    int ret = mcp9600_i2c_read_addr(mcp9600_i2c_addr, MCP9600_REG_ID_REVISION, buf, sizeof(buf));
    mcp9600_track_i2c_result(ret);
    if (ret == 0) {
        LOG_INF("MCP9600(0x%02x) device id 0x%02x rev 0x%02x", mcp9600_i2c_addr, buf[0], buf[1]);
    } else {
        LOG_WRN("MCP9600: failed to read device id (%d)", ret);
    }
#endif
}

static int mcp9600_read_hot_direct(float *value)
{
#if MCP9600_HAS_NODE
    uint8_t buf[2];
    int ret = mcp9600_i2c_read_addr(mcp9600_i2c_addr, MCP9600_REG_TEMP_HOT, buf, sizeof(buf));
    if (ret < 0) {
        mcp9600_track_i2c_result(ret);
        return ret;
    }

    int16_t raw = (int16_t)((buf[0] << 8) | buf[1]);
    *value = (float)raw * 0.0625f;
    mcp9600_track_i2c_result(0);
    return 0;
#else
    ARG_UNUSED(value);
    return -ENODEV;
#endif
}

static void mcp9600_thread(void *a, void *b, void *c)
{
    ARG_UNUSED(a);
    ARG_UNUSED(b);
    ARG_UNUSED(c);

    if (mcp9600_msg_init() != 0) {
        LOG_ERR("MCP9600 publisher disabled (message init failed)");
        return;
    }

    float last_logged_temp = NAN;

#if MCP9600_HAS_NODE
    const struct device *const mcp9600_bus_dev = DEVICE_DT_GET(DT_BUS(MCP9600_NODE));
    if (!device_is_ready(mcp9600_bus_dev)) {
        LOG_WRN("MCP9600 bus %s not ready; publishing fallback values", mcp9600_bus_dev->name);
    } else {
        LOG_INF("MCP9600 using I2C bus %s at address 0x%02x", mcp9600_bus_dev->name,
            (unsigned int)mcp9600_i2c_addr);
        mcp9600_log_device_id();
    }
#else
    LOG_WRN("No MCP9600 node defined; publishing NaN values");
#endif

    while (true) {
        float hot_c = NAN;
        bool hot_valid = false;
        static int last_direct_err;

#if MCP9600_HAS_NODE
        int direct_rc = mcp9600_read_hot_direct(&hot_c);
        if (direct_rc == 0) {
            hot_valid = true;
            last_direct_err = 0;
        } else if (direct_rc != last_direct_err) {
            LOG_WRN("MCP9600: direct register read failed (%d)", direct_rc);
            last_direct_err = direct_rc;
        }
#endif

        uint64_t now_ms = ros_iface_epoch_millis();
        uint64_t now_ns = ros_iface_epoch_nanos();
        mcp9600_msg.header.stamp.sec = (int32_t)(now_ms / 1000ULL);
        mcp9600_msg.header.stamp.nanosec = (uint32_t)(now_ns % 1000000000ULL);
        mcp9600_msg.temperature = hot_valid ? hot_c : NAN;

        if (hot_valid &&
            (isnan(last_logged_temp) || fabsf(hot_c - last_logged_temp) > 5.0f)) {
            LOG_INF("MCP9600 hot junction temperature %.2f C", hot_c);
            last_logged_temp = hot_c;
        }

        if (ros_initialized) {
            (void)ros_publish_try(&mcp9600_pub, &mcp9600_msg);
        }

        k_sleep(K_MSEC(MCP9600_PUBLISH_PERIOD_MS));
    }
}

void mcp9600_sensor_start(void)
{
    k_thread_create(&mcp9600_thread_data, mcp9600_stack, MCP9600_THREAD_STACK_SIZE,
                    mcp9600_thread, NULL, NULL, NULL,
                    MCP9600_THREAD_PRIORITY, 0, K_NO_WAIT);
    k_thread_name_set(&mcp9600_thread_data, "mcp9600_pub");
}
```
